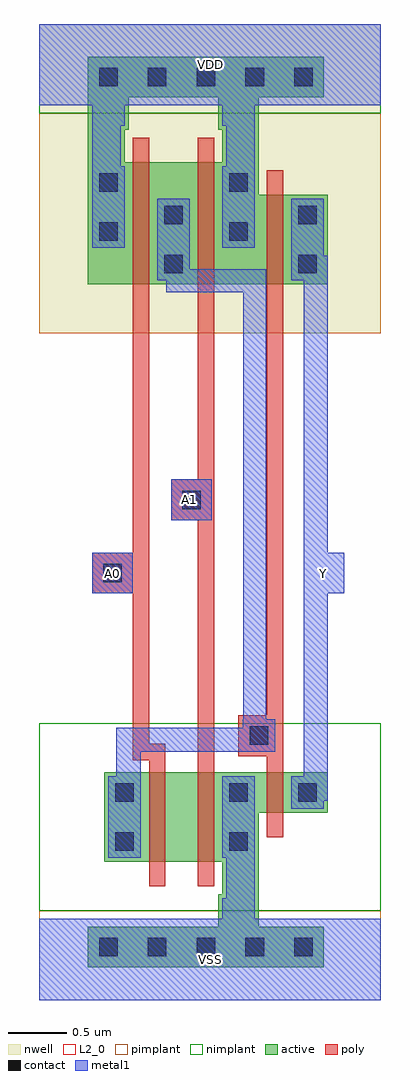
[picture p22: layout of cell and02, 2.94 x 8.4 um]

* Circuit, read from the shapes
.subckt and02 A0 A1 VDD VSS Y
M1 n1 A0 n2 VSS nfet w=0.77u l=0.14u
M2 VSS A1 n1 VSS nfet w=0.77u l=0.14u
M3 Y n2 VSS VSS nfet w=0.35u l=0.14u
M4 n2 A0 VDD VDD pfet w=1.05u l=0.14u
M5 VDD A1 n2 VDD pfet w=1.05u l=0.14u
M6 Y n2 VDD VDD pfet w=0.77u l=0.14u
.ends

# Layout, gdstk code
import gdstk
lib = gdstk.Library(unit=1e-6, precision=1e-09)
def R(c, l, rs):  # rectangles x0, y0, x1, y1
    for r in rs: c.add(gdstk.rectangle(r[:2], r[2:], *l))
def A(c, l, x, y, w, h, nx, ny, dx, dy):  # array of equal rectangles
    R(c, l, [(x+i*dx, y+j*dy, x+i*dx+w, y+j*dy+h) for i in range(nx) for j in range(ny)])
def P(c, l, *ps):  # polygons
    for p in ps: c.add(gdstk.Polygon(p, *l))
L2_0 = (2, 0)
nwell = (3, 0)
active = (6, 0)
poly = (17, 0)
pimplant = (25, 0)
nimplant = (26, 0)
contact = (30, 0)
metal1 = (31, 0)

adk_poly_m1 = lib.new_cell('ADK_poly_m1')
R(adk_poly_m1, poly, [(-0.175,-0.175,0.175,0.175)])
R(adk_poly_m1, contact, [(-0.08,-0.08,0.08,0.08)])
R(adk_poly_m1, metal1, [(-0.175,-0.175,0.175,0.175)])

and02 = lib.new_cell('and02')
R(and02, L2_0, [(0,0,2.94,2.38)])
R(and02, nwell, [(0,5.74,2.94,8.4)])
P(and02, nwell, [(0,5.74),(2.94,5.74),(2.94,7.35),(2.31,7.35),(2.31,7.63),(0,7.63)])
R(and02, active, [(0.42,0.28,2.45,0.63), (1.54,0.63,1.89,0.91), (1.575,0.91,1.89,1.19), (0.56,1.19,0.945,1.96), (2.1,1.61,2.485,1.96), (0.42,6.16,0.805,7.21), (2.1,6.16,2.485,6.93), (0.42,7.21,0.735,7.49), (1.575,7.21,1.89,7.49), (0.42,7.49,0.77,7.77), (1.54,7.49,1.89,7.77), (0.42,7.77,2.45,8.12)])
P(and02, active, [(2.485,6.16),(2.485,6.93),(1.89,6.93),(1.89,7.21),(0.42,7.21),(0.42,6.16)],
  [(1.89,1.19),(1.89,1.61),(2.485,1.61),(2.485,1.96),(0.56,1.96),(0.56,1.19)])
R(and02, poly, [(0.945,0.98,1.085,1.19), (1.365,0.98,1.505,1.19), (0.945,1.19,1.085,1.96), (1.365,1.19,1.505,1.96), (1.96,1.4,2.1,1.61), (1.96,1.61,2.1,1.96), (0.945,1.96,1.085,2.17), (1.365,1.96,1.505,2.17), (1.96,1.96,2.1,2.17), (1.715,2.1,2.065,2.45), (1.365,2.135,1.505,5.985), (1.96,2.135,2.1,5.985), (0.805,5.95,0.945,6.16), (1.365,5.95,1.505,6.16), (1.96,5.95,2.1,6.16), (0.805,6.16,0.945,7.21), (1.365,6.16,1.505,7.21), (1.96,6.16,2.1,6.93), (1.96,6.93,2.1,7.14), (0.805,7.21,0.945,7.42), (1.365,7.21,1.505,7.42)])
P(and02, poly, [(0.805,2.065),(1.085,2.065),(1.085,2.205),(0.945,2.205),(0.945,5.985),(0.805,5.985)])
R(and02, pimplant, [(0,0,2.94,0.77), (0,5.74,2.94,7.63)])
R(and02, nimplant, [(0,0.77,2.94,2.38), (0,7.63,2.94,8.4)])
A(and02, contact, 0.515, 0.375, 0.16, 0.16, 5, 2, 0.42, 7.49)
R(and02, contact, [(0.655,1.285,0.815,1.445), (1.635,1.285,1.795,1.445), (0.655,1.705,0.815,1.865), (1.635,1.705,1.795,1.865), (2.23,1.705,2.39,1.865), (1.81,2.195,1.97,2.355), (1.075,6.255,1.235,6.415), (2.23,6.255,2.39,6.415), (0.515,6.535,0.675,6.695), (1.635,6.535,1.795,6.695), (1.075,6.675,1.235,6.835), (2.23,6.675,2.39,6.835), (0.515,6.955,0.675,7.115), (1.635,6.955,1.795,7.115)])
R(and02, metal1, [(0,0,2.94,0.7), (0,0,2.94,0.7), (1.575,0.7,1.855,0.875), (1.61,0.875,1.855,1.225), (0.595,1.225,0.875,1.925), (1.575,1.225,1.855,1.925), (2.17,1.645,2.45,1.925), (2.275,1.715,2.485,6.405), (1.225,2.135,1.75,2.345), (1.75,2.135,2.03,2.415), (0.455,3.5,0.805,3.85), (2.275,3.5,2.625,3.85), (1.135,4.13,1.485,4.48), (1.015,6.195,1.295,6.895), (2.17,6.195,2.45,6.895), (0.455,6.475,0.735,7.175), (1.575,6.475,1.855,7.175), (0.455,7.175,0.7,7.525), (1.61,7.175,1.855,7.525), (0.455,7.525,0.735,7.7), (1.575,7.525,1.855,7.7), (0,7.7,2.94,8.4), (0,7.7,2.94,8.4)])
P(and02, metal1, [(1.095,6.09),(1.755,6.09),(1.755,2.175),(1.955,2.175),(1.955,6.29),(1.095,6.29)],
  [(0.665,1.925),(0.875,1.925),(0.875,2.135),(1.225,2.135),(1.225,2.345),(0.665,2.345)])
and02.add(gdstk.Reference(adk_poly_m1, (0.63,3.675)))
and02.add(gdstk.Reference(adk_poly_m1, (1.31,4.305)))
and02.add(gdstk.Label('VSS', (1.47,0.35), layer=131, texttype=0))
and02.add(gdstk.Label('A0', (0.63,3.675), layer=131, texttype=0))
and02.add(gdstk.Label('Y', (2.45,3.675), layer=131, texttype=0))
and02.add(gdstk.Label('VDD', (1.47,8.052), layer=131, texttype=0))
and02.add(gdstk.Label('A1', (1.29,4.305), layer=131, texttype=0))

lib.write_gds('and02.gds')
